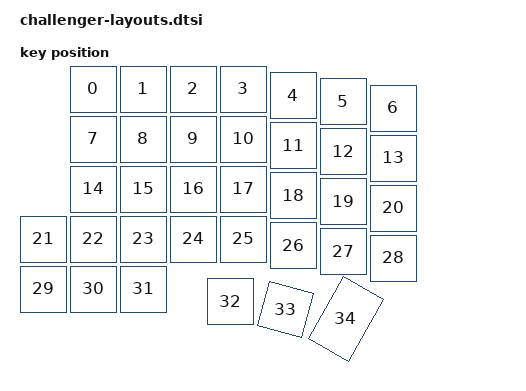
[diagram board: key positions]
#include <physical_layouts.dtsi>

/ {
    physical_layout0: physical_layout_0 {
        compatible = "zmk,physical-layout";
        display-name = "Default Layout";
        transform = <&default_transform>;
        kscan = <&kscan0>;
        keys  //                     w   h    x    y     rot    rx    ry
            = <&key_physical_attrs 100 100  100    0       0   100     0>
            , <&key_physical_attrs 100 100  200    0       0   200     0>
            , <&key_physical_attrs 100 100  300    0       0   300     0>
            , <&key_physical_attrs 100 100  400    0       0   400     0>
            , <&key_physical_attrs 100 100  500   13       0   500    13>
            , <&key_physical_attrs 100 100  600   25       0   600    25>
            , <&key_physical_attrs 100 100  700   38       0   700    38>
            , <&key_physical_attrs 100 100  100  100       0   100   100>
            , <&key_physical_attrs 100 100  200  100       0   200   100>
            , <&key_physical_attrs 100 100  300  100       0   300   100>
            , <&key_physical_attrs 100 100  400  100       0   400   100>
            , <&key_physical_attrs 100 100  500  113       0   500   113>
            , <&key_physical_attrs 100 100  600  125       0   600   125>
            , <&key_physical_attrs 100 100  700  138       0   700   138>
            , <&key_physical_attrs 100 100  100  200       0   100   200>
            , <&key_physical_attrs 100 100  200  200       0   200   200>
            , <&key_physical_attrs 100 100  300  200       0   300   200>
            , <&key_physical_attrs 100 100  400  200       0   400   200>
            , <&key_physical_attrs 100 100  500  213       0   500   213>
            , <&key_physical_attrs 100 100  600  225       0   600   225>
            , <&key_physical_attrs 100 100  700  238       0   700   238>
            , <&key_physical_attrs 100 100    0  300       0     0   300>
            , <&key_physical_attrs 100 100  100  300       0   100   300>
            , <&key_physical_attrs 100 100  200  300       0   200   300>
            , <&key_physical_attrs 100 100  300  300       0   300   300>
            , <&key_physical_attrs 100 100  400  300       0   400   300>
            , <&key_physical_attrs 100 100  500  313       0   500   313>
            , <&key_physical_attrs 100 100  600  325       0   600   325>
            , <&key_physical_attrs 100 100  700  338       0   700   338>
            , <&key_physical_attrs 100 100    0  400       0     0   400>
            , <&key_physical_attrs 100 100  100  400       0   100   400>
            , <&key_physical_attrs 100 100  200  400       0   200   400>
            , <&key_physical_attrs 100 100  375  425       0   375   425>
            , <&key_physical_attrs 100 100  500  430    1500   500   430>
            , <&key_physical_attrs 150 100  575  550 (-6000)   575   550>
            ;
    };
};
